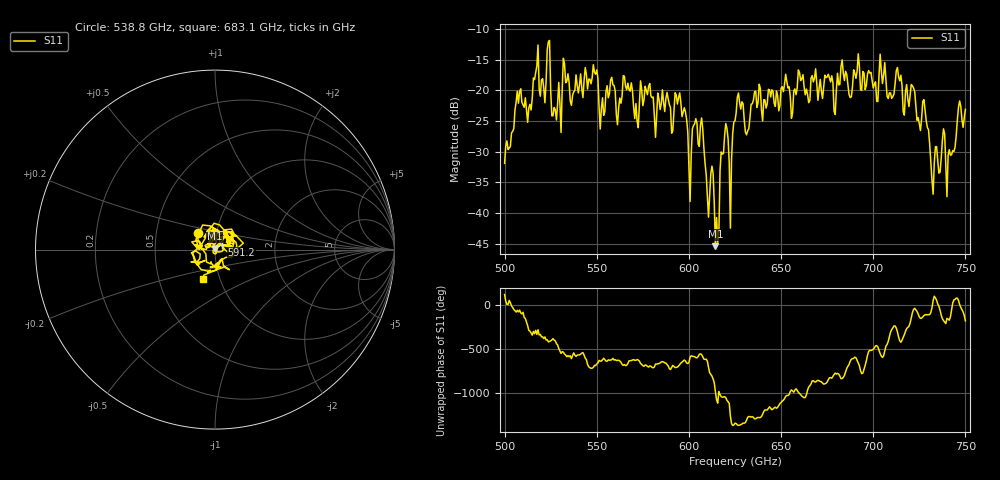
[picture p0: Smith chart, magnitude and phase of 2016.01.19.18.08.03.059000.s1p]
!Created with skrf (http://scikit-rf.org).
# GHz S RI R 50.0
!freq ReS11 ImS11
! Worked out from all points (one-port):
!   401 points, 500 GHz to 750 GHz, reference 50 ohm
!   lowest |S11| = -45.4 dB at 614.4 GHz (marker M1), VSWR 1.01, Z = 49.9 + j0.529 ohm
!   |S11| at or under -10 dB: start of sweep to end of sweep
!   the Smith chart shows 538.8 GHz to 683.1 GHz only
!   S11 on the Smith chart (normalised r, x): 538.8 GHz: 0.81, +0.15; 591.2 GHz: 1.08, +0.06; 683.1 GHz: 0.83, -0.28
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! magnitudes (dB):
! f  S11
! 500 GHz  -31.9
! 516.9 GHz  -17.1
! 520.6 GHz  -18.1
! 523.8 GHz  -12.1
! 526.9 GHz  -22.8
! 531.2 GHz  -19.9
! 538.8 GHz  -17.5
! 562.5 GHz  -21.2
! 565.6 GHz  -19.4
! 571.2 GHz  -22.2
! 577.5 GHz  -20.7
! 591.2 GHz  -26.6
! 593.8 GHz  -22.2
! 600.6 GHz  -38.1
! 603.1 GHz  -25.4
! 607.5 GHz  -26.3
! 614.4 GHz  -45.4
! 615.6 GHz  -44.8
! 618.8 GHz  -30.3
! 622.5 GHz  -42.5
! 625 GHz  -25.0
! 656.2 GHz  -23.7
! 683.1 GHz  -15.0
! 687.5 GHz  -21.2
! 718.8 GHz  -21.4
! 728.1 GHz  -23.2
! 732.5 GHz  -37.0
! 750 GHz  -23.1
